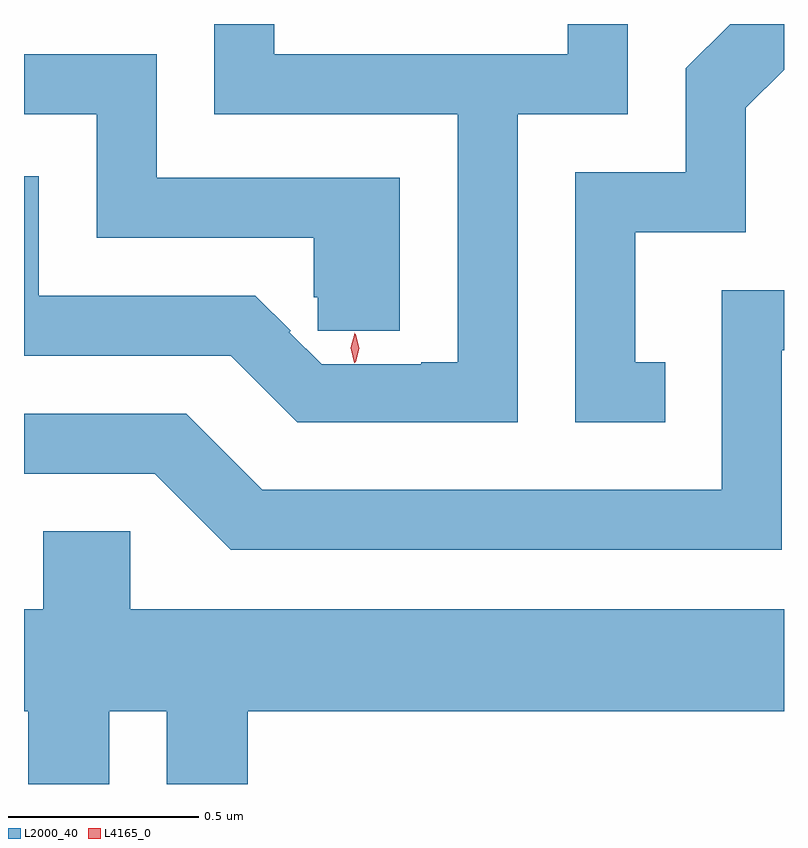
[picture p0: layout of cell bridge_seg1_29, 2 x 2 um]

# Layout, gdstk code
import gdstk
lib = gdstk.Library(unit=1e-6, precision=1e-09)
def P(c, l, *ps):  # polygons
    for p in ps: c.add(gdstk.Polygon(p, *l))
L2000_40 = (2000, 40)
L4165_0 = (4165, 0)

bridge_seg1_29 = lib.new_cell('bridge_seg1_29')
P(bridge_seg1_29, L2000_40, [(1486.128,864.974),(1486.049,864.974),(1486.049,865.316),(1486.339,865.316),(1486.339,865.644),(1486.44,865.744),(1486.44,865.864),(1486.299,865.864),(1486.181,865.747),(1486.181,865.474),(1485.891,865.474),(1485.891,864.816),(1486.128,864.816)],
  [(1485.739,865.626),(1486.029,865.626),(1486.029,865.864),(1485.871,865.864),(1485.871,865.784),(1485.099,865.784),(1485.099,865.863),(1484.941,865.863),(1484.941,865.626),(1485.581,865.626),(1485.581,864.974),(1485.485,864.974),(1485.485,864.969),(1485.223,864.969),(1485.138,865.053),(1485.142,865.057),(1485.049,865.149),(1484.479,865.149),(1484.479,865.464),(1484.44,865.464),(1484.44,864.991),(1484.984,864.991),(1485.159,864.816),(1485.739,864.816)],
  [(1485.429,865.459),(1484.789,865.459),(1484.789,865.784),(1484.44,865.784),(1484.44,865.626),(1484.631,865.626),(1484.631,865.301),(1485.202,865.301),(1485.202,865.145),(1485.213,865.145),(1485.213,865.057),(1485.429,865.057)],
  [(1486.434,865.006),(1486.44,865.006),(1486.44,865.164),(1486.276,865.164),(1486.276,864.639),(1485.067,864.639),(1484.867,864.839),(1484.44,864.839),(1484.44,864.681),(1484.784,864.681),(1484.984,864.481),(1486.434,864.481)],
  [(1484.664,864.056),(1484.816,864.056),(1484.816,863.864),(1485.029,863.864),(1485.029,864.056),(1486.44,864.056),(1486.44,864.324),(1484.719,864.324),(1484.719,864.529),(1484.491,864.529),(1484.491,864.324),(1484.44,864.324),(1484.44,864.056),(1484.451,864.056),(1484.451,863.864),(1484.664,863.864)])
P(bridge_seg1_29, L4165_0, [(1485.309,864.972),(1485.3,865.012),(1485.31,865.05),(1485.31,865.051),(1485.31,865.05),(1485.32,865.011),(1485.31,864.972),(1485.31,864.972)],
  [(1485.312,864.974),(1485.312,864.975),(1485.302,865.011),(1485.312,865.048),(1485.312,865.048),(1485.313,865.048),(1485.322,865.011),(1485.313,864.975)])

lib.write_gds('bridge_seg1_29.gds')
